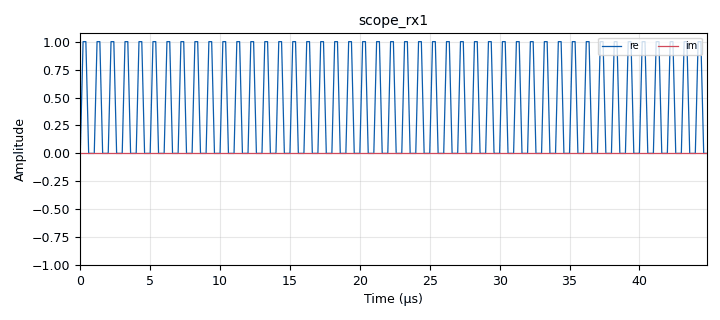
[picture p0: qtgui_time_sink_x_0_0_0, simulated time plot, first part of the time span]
options:
  parameters:
    generate_options: qt_gui
    id: test_example
    output_language: python
    title: lab3_antsdr_tone
  states: {}

blocks:
- name: amp_0
  id: variable_qtgui_range
  parameters:
    label: Amplitude0
    start: '0'
    step: '0.1'
    stop: '100'
    value: '1'
  states: {}
- name: amp_1
  id: variable_qtgui_range
  parameters:
    label: Amplitude1
    start: '0'
    step: '0.1'
    stop: '100'
    value: '0'
  states: {}
- name: bw
  id: variable
  parameters:
    value: 56e6
  states: {}
- name: center_freq
  id: variable
  parameters:
    value: 3.6e9
  states: {}
- name: freq_0
  id: variable_qtgui_range
  parameters:
    label: Frequency0
    start: '0'
    step: '50'
    stop: 2e9
    value: 1000e3
  states: {}
- name: freq_1
  id: variable_qtgui_range
  parameters:
    label: Frequency1
    start: '0'
    step: '50'
    stop: 500e3
    value: '0'
  states: {}
- name: gain
  id: variable
  parameters:
    value: '40'
  states: {}
- name: samp_rate
  id: variable
  parameters:
    value: 5e6
  states: {}
- name: analog_sig_source_x_0
  id: analog_sig_source_x
  parameters:
    amp: amp_0
    freq: freq_0
    offset: '0'
    phase: '0'
    samp_rate: samp_rate
    type: float
    waveform: analog.GR_CONST_WAVE
  states: {state: disabled}
- name: analog_sig_source_x_0_0
  id: analog_sig_source_x
  parameters:
    amp: amp_0
    freq: freq_0
    offset: '0'
    phase: '0'
    samp_rate: samp_rate
    type: float
    waveform: analog.GR_SQR_WAVE
  states: {}
- name: analog_sig_source_x_0_0_0
  id: analog_sig_source_x
  parameters:
    amp: amp_1
    freq: freq_1
    offset: '0'
    phase: '0'
    samp_rate: samp_rate
    type: float
    waveform: analog.GR_CONST_WAVE
  states: {}
- name: analog_sig_source_x_1
  id: analog_sig_source_x
  parameters:
    amp: amp_1
    freq: freq_1
    offset: '0'
    phase: '0'
    samp_rate: samp_rate
    type: float
    waveform: analog.GR_CONST_WAVE
  states: {state: disabled}
- name: blocks_float_to_complex_0
  id: blocks_float_to_complex
  parameters: {}
  states: {}
- name: qtgui_freq_sink_x_0
  id: qtgui_freq_sink_x
  parameters:
    bw: bw
    fc: '0'
    fftsize: '1024'
    name: '"spectrum_ rx1"'
    type: complex
  states: {}
- name: qtgui_freq_sink_x_0_0
  id: qtgui_freq_sink_x
  parameters:
    bw: bw
    fc: '0'
    fftsize: '1024'
    name: '"spectrum_rx2"'
    type: complex
  states: {}
- name: qtgui_time_sink_x_0
  id: qtgui_time_sink_x
  parameters:
    autoscale: 'True'
    name: '"scope_rx2"'
    size: '1024'
    srate: samp_rate
    type: complex
  states: {}
- name: qtgui_time_sink_x_0_0
  id: qtgui_time_sink_x
  parameters:
    autoscale: 'True'
    name: '"scope_rx1"'
    size: '1024'
    srate: samp_rate
    type: complex
  states: {}
- name: qtgui_time_sink_x_0_0_0
  id: qtgui_time_sink_x
  parameters:
    label1: re
    label2: im
    name: '"scope_rx1"'
    size: '1024'
    srate: samp_rate
    tr_mode: qtgui.TRIG_MODE_AUTO
    type: complex
    update_time: '0.1'
  states: {}
- name: uhd_usrp_sink_0
  id: uhd_usrp_sink
  parameters:
    ant0: '"TX/RX"'
    ant1: '"TX/RX"'
    bw0: bw
    bw1: bw
    center_freq0: center_freq
    center_freq1: center_freq
    dev_addr: '"type=b200"'
    gain0: gain
    gain1: gain
    nchan: '2'
    samp_rate: samp_rate
    stream_chans: '[0,1]'
    sync: none
    type: fc32
  states: {}
- name: uhd_usrp_source_0
  id: uhd_usrp_source
  parameters:
    ant0: '"RX2"'
    ant1: '"RX2"'
    bw0: 1e6
    bw1: 1e6
    center_freq0: center_freq
    center_freq1: center_freq
    dev_addr: '"type=b200"'
    gain0: '40'
    gain1: '40'
    nchan: '2'
    samp_rate: samp_rate
    stream_chans: '[0,1]'
    sync: none
    type: fc32
  states: {}

connections:
- [analog_sig_source_x_0_0, '0', blocks_float_to_complex_0, '0']
- [analog_sig_source_x_0_0_0, '0', blocks_float_to_complex_0, '1']
- [blocks_float_to_complex_0, '0', qtgui_time_sink_x_0_0_0, '0']
- [blocks_float_to_complex_0, '0', uhd_usrp_sink_0, '0']
- [blocks_float_to_complex_0, '0', uhd_usrp_sink_0, '1']
- [uhd_usrp_source_0, '0', qtgui_freq_sink_x_0, '0']
- [uhd_usrp_source_0, '0', qtgui_time_sink_x_0_0, '0']
- [uhd_usrp_source_0, '1', qtgui_freq_sink_x_0_0, '0']
- [uhd_usrp_source_0, '1', qtgui_time_sink_x_0, '0']

metadata:
  file_format: 1
